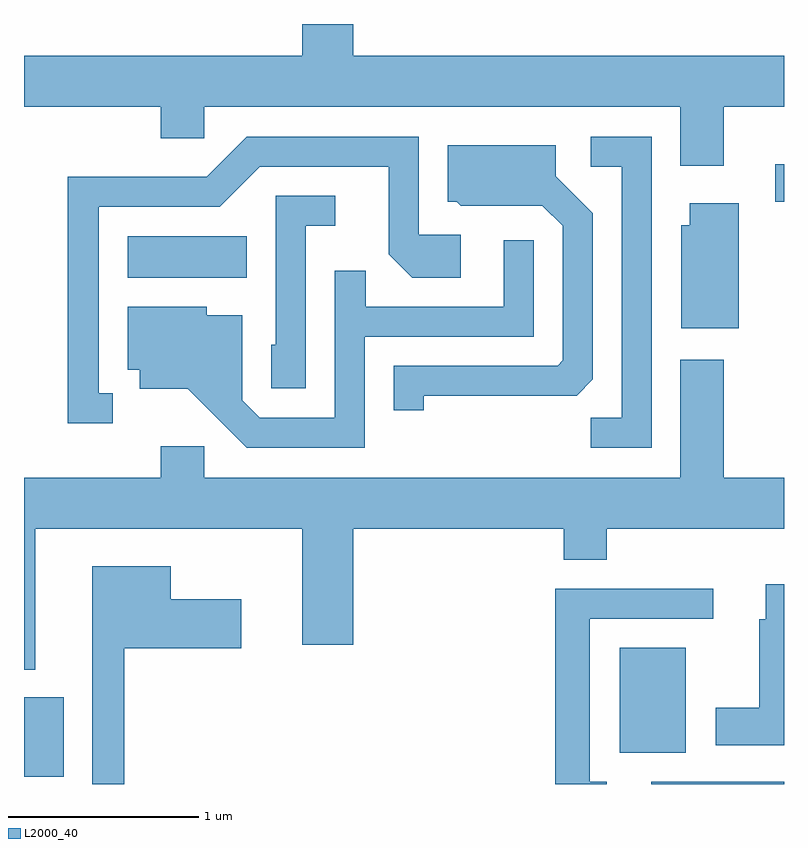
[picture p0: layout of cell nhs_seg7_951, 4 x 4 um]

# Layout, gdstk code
import gdstk
lib = gdstk.Library(unit=1e-6, precision=1e-09)
def R(c, l, rs):  # rectangles x0, y0, x1, y1
    for r in rs: c.add(gdstk.rectangle(r[:2], r[2:], *l))
def P(c, l, *ps):  # polygons
    for p in ps: c.add(gdstk.Polygon(p, *l))
L2000_40 = (2000, 40)

nhs_seg7_951 = lib.new_cell('nhs_seg7_951')
R(nhs_seg7_951, L2000_40, [(216.911,1766.252,217.611,1766.264), (213.611,1766.291,213.819,1766.709), (216.746,1766.416,217.094,1766.969), (214.156,1768.916,214.784,1769.134), (217.566,1769.316,217.611,1769.514)])
P(nhs_seg7_951, L2000_40, [(217.294,1769.816),(217.611,1769.816),(217.611,1770.084),(215.344,1770.084),(215.344,1770.252),(215.076,1770.252),(215.076,1770.084),(213.611,1770.084),(213.611,1769.816),(214.331,1769.816),(214.331,1769.651),(214.559,1769.651),(214.559,1769.816),(217.066,1769.816),(217.066,1769.506),(217.294,1769.506)],
  [(216.914,1769.659),(216.593,1769.659),(216.593,1769.501),(216.756,1769.501),(216.756,1768.179),(216.593,1768.179),(216.593,1768.021),(216.914,1768.021)],
  [(214.078,1768.309),(214.004,1768.309),(214.004,1769.291),(214.642,1769.291),(214.852,1769.501),(215.531,1769.501),(215.531,1769.039),(215.654,1768.916),(215.909,1768.916),(215.909,1769.144),(215.689,1769.144),(215.689,1769.659),(214.784,1769.659),(214.574,1769.449),(213.841,1769.449),(213.841,1768.151),(214.078,1768.151)],
  [(215.714,1768.296),(216.519,1768.296),(216.604,1768.382),(216.604,1769.257),(216.409,1769.452),(216.409,1769.614),(215.841,1769.614),(215.841,1769.316),(215.889,1769.316),(215.909,1769.296),(216.339,1769.296),(216.446,1769.189),(216.446,1768.482),(216.419,1768.454),(215.556,1768.454),(215.556,1768.218),(215.714,1768.218)],
  [(215.094,1769.191),(215.248,1769.191),(215.248,1769.349),(214.936,1769.349),(214.936,1768.564),(214.911,1768.564),(214.911,1768.336),(215.094,1768.336)],
  [(217.374,1769.309),(217.116,1769.309),(217.116,1769.194),(217.071,1769.194),(217.071,1768.651),(217.374,1768.651)],
  [(215.404,1768.606),(216.294,1768.606),(216.294,1769.113),(216.136,1769.113),(216.136,1768.764),(215.409,1768.764),(215.409,1768.953),(215.246,1768.953),(215.246,1768.179),(214.852,1768.179),(214.759,1768.272),(214.759,1768.719),(214.574,1768.719),(214.574,1768.764),(214.156,1768.764),(214.156,1768.431),(214.221,1768.431),(214.221,1768.331),(214.474,1768.331),(214.784,1768.021),(215.404,1768.021)],
  [(213.669,1767.596),(215.076,1767.596),(215.076,1766.986),(215.344,1766.986),(215.344,1767.596),(216.451,1767.596),(216.451,1767.431),(216.679,1767.431),(216.679,1767.596),(217.611,1767.596),(217.611,1767.864),(217.294,1767.864),(217.294,1768.484),(217.066,1768.484),(217.066,1767.864),(214.559,1767.864),(214.559,1768.029),(214.331,1768.029),(214.331,1767.864),(213.611,1767.864),(213.611,1766.853),(213.669,1766.853)],
  [(214.139,1766.966),(214.754,1766.966),(214.754,1767.224),(214.384,1767.224),(214.384,1767.399),(213.971,1767.399),(213.971,1766.252),(214.139,1766.252)],
  [(217.611,1767.304),(217.516,1767.304),(217.516,1767.119),(217.481,1767.119),(217.481,1766.654),(217.251,1766.654),(217.251,1766.456),(217.611,1766.456)],
  [(216.679,1766.264),(216.589,1766.264),(216.589,1767.121),(217.238,1767.121),(217.238,1767.279),(216.406,1767.279),(216.406,1766.252),(216.679,1766.252)])

lib.write_gds('nhs_seg7_951.gds')
